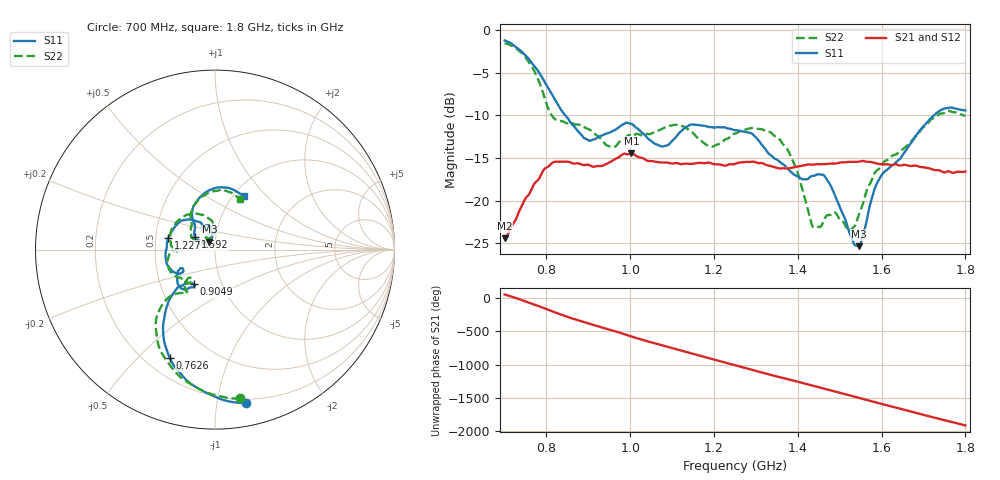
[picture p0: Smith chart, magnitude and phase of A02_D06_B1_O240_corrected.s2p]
! Created with skrf 1.9.0 (http://scikit-rf.org).
# Hz S RI R 50.0
!freq ReS11 ImS11 ReS21 ImS21 ReS12 ImS12 ReS22 ImS22
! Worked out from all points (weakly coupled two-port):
!   1601 points, 700 MHz to 1.8 GHz, reference 50 ohm
!   highest |S21| = -14.46 dB at 1.002 GHz (marker M1); lowest = -24.4 dB at 700 MHz (marker M2)
!   lowest |S11| = -25.3 dB at 1.546 GHz (marker M3), VSWR 1.11, Z = 46.8 + j4.15 ohm
!   |S11| at or under -10 dB: 845.3 MHz to 1.725 GHz (879.3 MHz wide, 68.4 % of centre)
!   |S22| runs from -23.6 to -1.5 dB; largest |S21 - S12| = 0.0035
!   S11 on the Smith chart (normalised r, x): 700 MHz: 0.17, -1.21; 762.6 MHz: 0.30, -0.63; 904.9 MHz: 0.74, -0.30; 1.227 GHz: 0.58, +0.08; 1.592 GHz: 0.79, +0.11; 1.8 GHz: 1.13, +0.75
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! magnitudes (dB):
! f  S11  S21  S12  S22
! 700 MHz  -1.2  -24.4  -24.2  -1.5
! 762.6 MHz  -3.7  -18.9  -18.8  -4.0
! 815.5 MHz  -7.7  -15.5  -15.6  -10.2
! 883.6 MHz  -12.3  -15.7  -15.6  -11.2
! 904.9 MHz  -13.0  -15.9  -15.9  -11.7
! 955.8 MHz  -11.9  -15.4  -15.4  -13.7
! 1.002 GHz  -11.0  -14.5  -14.6  -12.4
! 1.067 GHz  -13.5  -15.5  -15.4  -11.8
! 1.144 GHz  -11.1  -15.7  -15.7  -11.8
! 1.19 GHz  -11.4  -15.6  -15.6  -13.6
! 1.227 GHz  -11.4  -15.9  -15.8  -12.8
! 1.25 GHz  -11.7  -15.7  -15.6  -12.1
! 1.357 GHz  -15.5  -16.2  -16.2  -12.9
! 1.396 GHz  -17.1  -16.0  -16.0  -16.2
! 1.434 GHz  -17.1  -15.8  -15.7  -22.8
! 1.469 GHz  -17.5  -15.7  -15.7  -21.8
! 1.524 GHz  -23.8  -15.4  -15.4  -23.6
! 1.546 GHz  -25.3  -15.4  -15.4  -21.6
! 1.592 GHz  -17.7  -15.7  -15.7  -16.4
! 1.617 GHz  -16.2  -15.8  -15.7  -15.1
! 1.733 GHz  -9.6  -16.4  -16.5  -10.0
! 1.8 GHz  -9.4  -16.6  -16.6  -10.0
